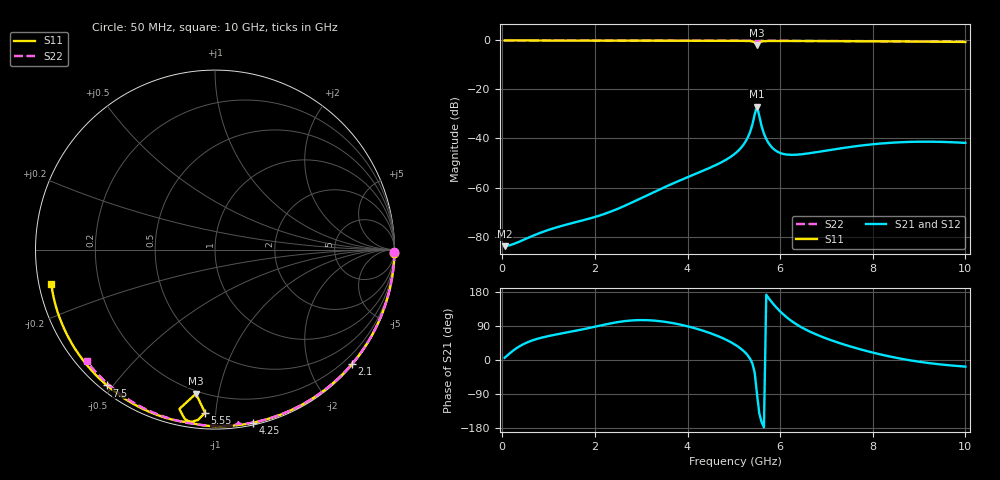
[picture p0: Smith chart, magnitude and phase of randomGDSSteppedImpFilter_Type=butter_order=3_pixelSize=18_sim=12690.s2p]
! freq	dB(S11)	phase(S11)	dB(S12)	phase(S12)
!  dB(S21)	phase(S21)	dB(S22)	phase(S22)
!S-par simulation data
#  GHz  S  DB  R 50
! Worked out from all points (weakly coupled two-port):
!   200 points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, 50 MHz to 10 GHz, reference 50 ohm
!   highest |S21| = -26.95 dB at 5.5 GHz (marker M1); lowest = -83.9 dB at 50 MHz (marker M2)
!   lowest |S11| = -1.8 dB at 5.5 GHz (marker M3), VSWR 9.54, Z = 9.18 - j42.9 ohm
!   |S11| at or under -10 dB: nowhere
!   |S22| runs from -0.5 to 0.0 dB; largest |S21 - S12| = 0
!   S11 on the Smith chart (normalised r, x): 50 MHz: open; 2.1 GHz: 0.02, -2.76; 4.25 GHz: 0.02, -1.24; 5.55 GHz: 0.09, -0.94; 7.5 GHz: 0.02, -0.48; 10 GHz: 0.04, -0.10
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0.05  -0.00 -1.0  -83.94 5.7  -83.94 5.7  -0.00 -0.8
0.6  -0.01 -11.6  -80.18 49.5  -80.18 49.5  -0.01 -9.6
1.75  -0.04 -33.3  -73.35 81.2  -73.35 81.2  -0.04 -27.7
2.1  -0.05 -39.8  -71.44 90.5  -71.44 90.5  -0.04 -33.1
3.4  -0.08 -63.1  -60.77 102.5  -60.77 102.5  -0.07 -52.7
4.25  -0.11 -77.8  -53.82 80.5  -53.82 80.5  -0.09 -65.0
4.75  -0.13 -86.3  -49.52 58.2  -49.52 58.2  -0.11 -72.0
5.05  -0.15 -91.6  -45.78 38.6  -45.78 38.6  -0.12 -76.2
5.2  -0.17 -94.5  -42.75 24.9  -42.75 24.9  -0.12 -78.3
5.3  -0.20 -96.8  -39.64 12.2  -39.64 12.2  -0.13 -79.7
5.4  -0.37 -100.2  -34.38 -9.2  -34.38 -9.2  -0.15 -81.2
5.45  -0.82 -102.6  -30.14 -33.2  -30.14 -33.2  -0.18 -82.0
5.5  -1.83 -97.6  -26.95 -89.3  -26.95 -89.3  -0.26 -82.3
5.55  -0.81 -93.5  -30.84 -141.4  -30.84 -141.4  -0.19 -82.6
5.6  -0.41 -95.7  -35.05 -164.1  -35.05 -164.1  -0.16 -83.3
5.7  -0.25 -98.9  -40.24 172.3  -40.24 172.3  -0.15 -84.8
5.9  -0.21 -103.0  -44.90 141.0  -44.90 141.0  -0.15 -87.5
6.2  -0.21 -108.2  -46.64 107.0  -46.64 107.0  -0.17 -91.5
6.7  -0.23 -116.1  -45.83 71.6  -45.83 71.6  -0.19 -98.0
7.5  -0.29 -128.5  -43.49 36.3  -43.49 36.3  -0.24 -108.2
8.35  -0.37 -141.5  -41.80 9.7  -41.80 9.7  -0.31 -118.8
10  -0.61 -168.2  -41.79 -17.5  -41.79 -17.5  -0.48 -139.0
